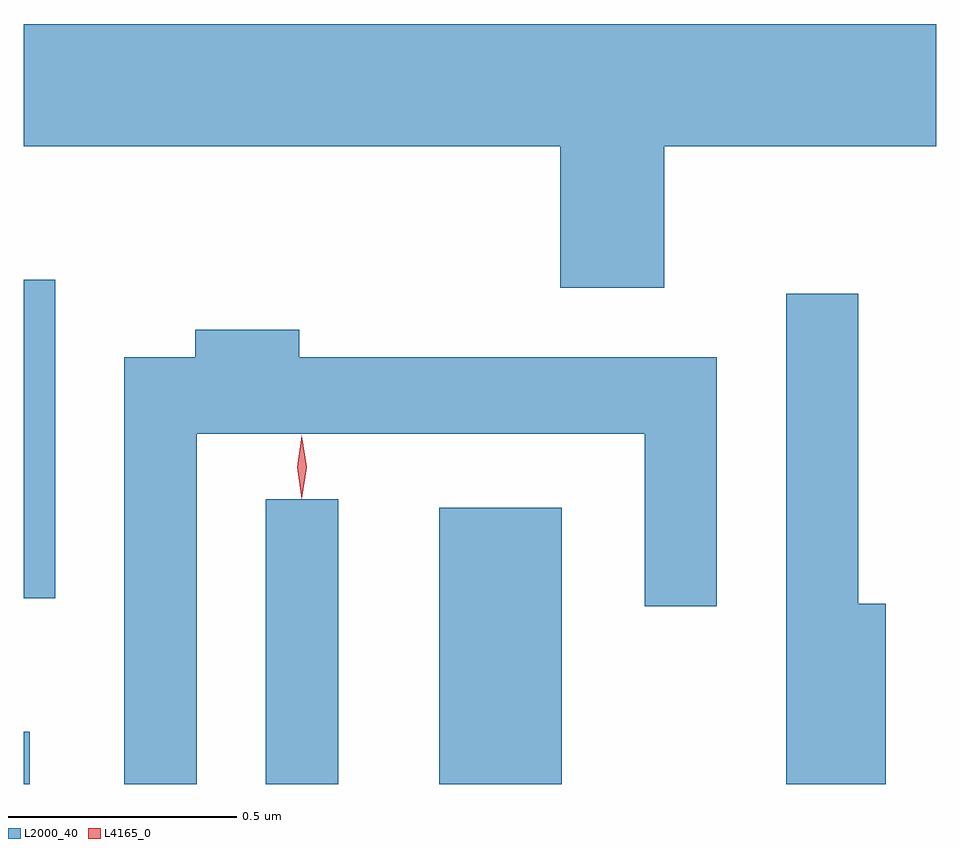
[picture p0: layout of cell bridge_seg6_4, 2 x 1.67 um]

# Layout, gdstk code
import gdstk
lib = gdstk.Library(unit=1e-6, precision=1e-09)
def R(c, l, rs):  # rectangles x0, y0, x1, y1
    for r in rs: c.add(gdstk.rectangle(r[:2], r[2:], *l))
def P(c, l, *ps):  # polygons
    for p in ps: c.add(gdstk.Polygon(p, *l))
L2000_40 = (2000, 40)
L4165_0 = (4165, 0)

bridge_seg6_4 = lib.new_cell('bridge_seg6_4')
R(bridge_seg6_4, L2000_40, [(1466.425,1635.219,1466.439,1635.334), (1466.956,1635.219,1467.114,1635.843), (1467.336,1635.219,1467.604,1635.824), (1466.425,1635.626,1466.494,1636.324)])
P(bridge_seg6_4, L2000_40, [(1467.829,1636.616),(1468.425,1636.616),(1468.425,1636.884),(1466.425,1636.884),(1466.425,1636.616),(1467.601,1636.616),(1467.601,1636.306),(1467.829,1636.306)],
  [(1468.314,1635.614),(1468.254,1635.614),(1468.254,1636.293),(1468.096,1636.293),(1468.096,1635.219),(1468.314,1635.219)],
  [(1466.804,1635.986),(1467.786,1635.986),(1467.786,1635.608),(1467.944,1635.608),(1467.944,1636.154),(1467.029,1636.154),(1467.029,1636.214),(1466.801,1636.214),(1466.801,1636.154),(1466.646,1636.154),(1466.646,1635.219),(1466.804,1635.219)])
P(bridge_seg6_4, L4165_0, [(1467.035,1635.843),(1467.034,1635.844),(1467.025,1635.913),(1467.034,1635.982),(1467.034,1635.983),(1467.035,1635.982),(1467.045,1635.913),(1467.035,1635.844)])

lib.write_gds('bridge_seg6_4.gds')
